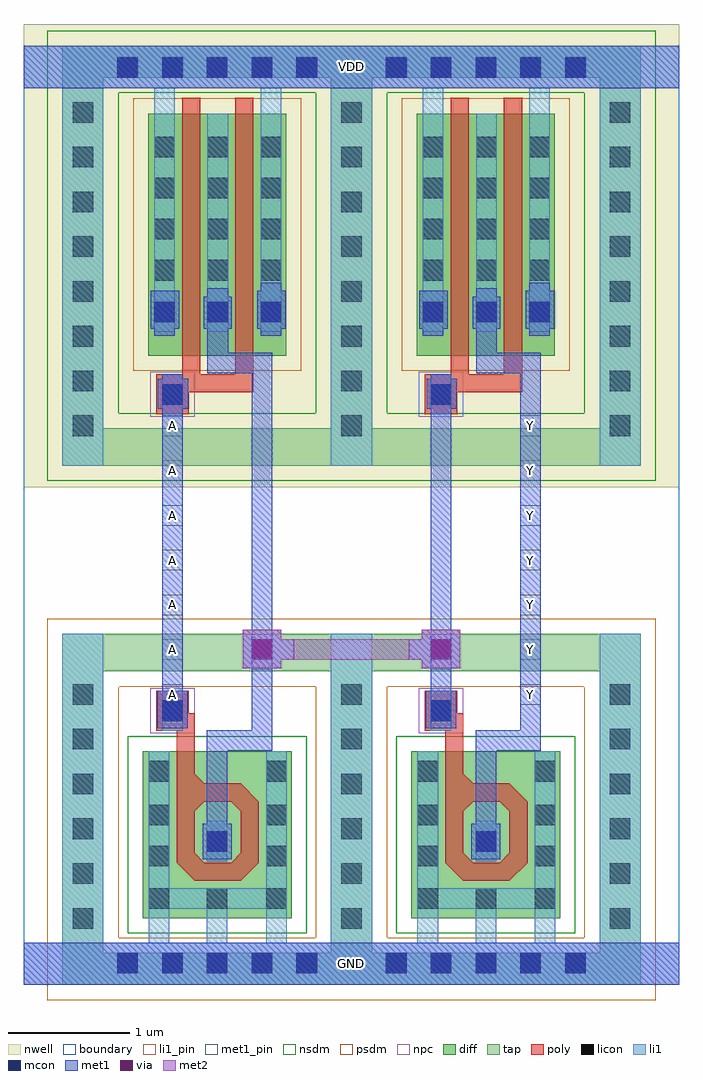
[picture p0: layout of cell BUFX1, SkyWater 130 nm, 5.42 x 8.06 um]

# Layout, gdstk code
from math import pi, radians
import gdstk
lib = gdstk.Library(unit=1e-6, precision=1e-09)
def R(c, l, rs):  # rectangles x0, y0, x1, y1
    for r in rs: c.add(gdstk.rectangle(r[:2], r[2:], *l))
def A(c, l, x, y, w, h, nx, ny, dx, dy):  # array of equal rectangles
    R(c, l, [(x+i*dx, y+j*dy, x+i*dx+w, y+j*dy+h) for i in range(nx) for j in range(ny)])
def P(c, l, *ps):  # polygons
    for p in ps: c.add(gdstk.Polygon(p, *l))
nwell = (64, 20)
diff = (65, 20)
tap = (65, 44)
poly = (66, 20)
licon = (66, 44)
li1_pin = (67, 16)
li1 = (67, 20)
mcon = (67, 44)
met1_pin = (68, 16)
met1 = (68, 20)
via = (68, 44)
met2 = (69, 20)
nsdm = (93, 44)
psdm = (94, 20)
npc = (95, 20)
boundary = (235, 4)

li1_m1_contact = lib.new_cell('li1_M1_contact')
R(li1_m1_contact, li1, [(-0.085,-0.165,0.085,0.165)])
R(li1_m1_contact, mcon, [(-0.085,-0.085,0.085,0.085)])
R(li1_m1_contact, met1, [(-0.115,-0.115,0.115,-0.085), (-0.265,-0.085,0.145,0.085), (-0.115,0.085,0.115,0.115)])

poly_li1_contact = lib.new_cell('poly_li1_contact')
R(poly_li1_contact, poly, [(-0.16,-0.14,0.17,0.13)])
R(poly_li1_contact, licon, [(-0.08,-0.09,0.09,0.08)])
R(poly_li1_contact, li1, [(-0.16,-0.09,0.17,0.08)])
R(poly_li1_contact, npc, [(-0.18,-0.19,0.19,0.18)])

pmos2 = lib.new_cell('pmos2')
R(pmos2, nwell, [(0.26,-2.18,1.76,0.18)])
R(pmos2, diff, [(0.44,-2,1.58,0)])
R(pmos2, poly, [(0.72,-2.305,1.31,-2.155), (0.72,-2.155,0.87,0.13), (1.16,-2.155,1.31,0.13)])
A(pmos2, licon, 0.49, -1.38, 0.17, 0.17, 3, 4, 0.44, 0.34)
R(pmos2, li1, [(0.49,-1.465,0.66,0.21), (0.93,-1.465,1.1,0), (1.37,-1.465,1.54,0.21)])
R(pmos2, psdm, [(0.315,-2.125,1.705,0.125)])

nmos_top = lib.new_cell('nmos_top')
R(nmos_top, diff, [(0,0,1.23,1.38)])
R(nmos_top, poly, [(0.42,0.31,0.8,0.46), (0.27,0.46,0.42,0.965), (0.8,0.46,0.95,0.965), (0.42,0.965,0.95,1.115), (0.8,1.115,0.95,1.54)])
P(nmos_top, poly, [(0.72,1.115),(0.8,1.115),(0.8,1.195)],
  [(0.27,0.965),(0.42,0.965),(0.42,1.115)],
  [(0.42,0.885),(0.42,0.965),(0.5,0.965)],
  [(0.72,0.965),(0.8,0.965),(0.8,0.885)],
  [(0.42,0.54),(0.42,0.46),(0.5,0.46)],
  [(0.72,0.46),(0.8,0.46),(0.8,0.54)],
  [(0.27,0.46),(0.42,0.46),(0.42,0.31)],
  [(0.8,0.31),(0.8,0.46),(0.95,0.46)])
R(nmos_top, licon, [(0.04,0.08,0.21,0.25), (0.53,0.08,0.7,0.25), (1.01,0.08,1.18,0.25), (0.04,0.43,0.21,0.6), (1.01,0.43,1.18,0.6), (0.53,0.55,0.7,0.72), (0.04,0.77,0.21,0.94), (1.01,0.77,1.18,0.94), (0.04,1.13,0.21,1.3), (1.01,1.13,1.18,1.3)])
R(nmos_top, li1, [(0.04,0,0.21,0.08), (1.01,0,1.18,0.08), (0.04,0.08,1.18,0.25), (0.04,0.25,0.21,1.38), (1.01,0.25,1.18,1.38), (0.53,0.47,0.7,0.805)])
R(nmos_top, nsdm, [(-0.125,-0.125,1.355,1.505)])

diff_ring_side = lib.new_cell('diff_ring_side')
R(diff_ring_side, nwell, [(-0.435,3.93,0.435,7.75)])
R(diff_ring_side, tap, [(-0.17,-0.17,0.17,2.72), (-0.17,4.11,0.17,7.57)])
A(diff_ring_side, licon, -0.085, 0.285, 0.17, 0.17, 1, 6, 0, 0.37)
A(diff_ring_side, licon, -0.085, 4.355, 0.17, 0.17, 1, 8, 0, 0.37)
R(diff_ring_side, li1, [(-0.17,-0.17,0.17,2.72), (-0.17,4.11,0.17,7.57)])
R(diff_ring_side, met1, [(-0.17,-0.17,0.17,0.17), (-0.17,7.23,0.17,7.57)])
R(diff_ring_side, nsdm, [(-0.295,3.985,0.295,7.695)])
R(diff_ring_side, psdm, [(-0.295,-0.295,0.295,2.845)])

invx1_pcell = lib.new_cell('invx1_pcell')
R(invx1_pcell, nwell, [(-0.435,3.93,2.655,7.75)])
A(invx1_pcell, diff, 0.59, 5.295, 0.17, 0.17, 3, 1, 0.44, 0)
R(invx1_pcell, tap, [(0.17,-0.17,2.05,0.085), (0.17,2.41,2.05,2.72), (0.17,4.11,2.05,4.42), (0.17,7.315,2.05,7.57)])
R(invx1_pcell, poly, [(0.775,1.905,0.925,2.065)])
A(invx1_pcell, licon, 0.285, -0.085, 0.17, 0.17, 5, 2, 0.37, 7.4)
A(invx1_pcell, licon, 0.59, 5.295, 0.17, 0.17, 3, 1, 0.44, 0)
A(invx1_pcell, li1, 0.59, 5.215, 0.17, 0.37, 3, 1, 0.44, 0)
R(invx1_pcell, li1, [(-0.17,-0.17,2.33,0.17), (0.545,0.17,0.715,0.42), (1.025,0.17,1.195,0.45), (1.515,0.17,1.685,0.45), (1.025,0.92,1.195,1.09), (0.655,2,0.825,2.17), (0.655,4.615,0.825,4.785), (-0.17,7.23,2.39,7.57)])
A(invx1_pcell, mcon, 0.285, -0.085, 0.17, 0.17, 5, 2, 0.37, 7.4)
A(invx1_pcell, mcon, 0.59, 5.295, 0.17, 0.17, 3, 1, 0.44, 0)
R(invx1_pcell, mcon, [(1.025,0.92,1.195,1.09), (0.655,2,0.825,2.17), (0.655,4.615,0.825,4.785)])
R(invx1_pcell, met1, [(-0.17,-0.17,2.39,0.17), (0.99,0.86,1.23,1.15), (1.025,1.15,1.195,1.755), (1.025,1.755,1.565,1.925), (1.395,1.925,1.565,4.875), (0.615,1.94,0.865,2.25), (0.655,2.25,0.825,4.58), (0.62,4.58,0.87,4.83), (0.655,4.83,0.825,4.865), (1.03,4.875,1.565,5.045), (1.03,5.045,1.2,5.24), (0.59,5.185,0.76,5.24), (1.47,5.185,1.64,5.24), (0.56,5.24,0.795,5.555), (1,5.24,1.23,5.505), (1.44,5.24,1.675,5.555), (1.03,5.505,1.2,5.575), (1.47,5.555,1.64,5.62), (-0.17,7.23,2.39,7.57)])
R(invx1_pcell, nsdm, [(0.045,3.985,2.175,4.545), (0.045,7.19,2.175,7.695)])
R(invx1_pcell, psdm, [(0.045,-0.295,2.175,0.21), (0.045,2.285,2.175,2.845), (0.465,5.17,1.765,5.59)])
invx1_pcell.add(gdstk.Reference(poly_li1_contact, (0.735,2.08), rotation=pi/2))
invx1_pcell.add(gdstk.Reference(poly_li1_contact, (0.745,4.705), rotation=3*pi/2))
invx1_pcell.add(gdstk.Reference(pmos2, (0.1,7.02)))
invx1_pcell.add(gdstk.Reference(nmos_top, (1.725,0.37), rotation=pi, x_reflection=True))
invx1_pcell.add(gdstk.Reference(diff_ring_side, (0,0)))
invx1_pcell.add(gdstk.Reference(diff_ring_side, (2.22,0)))

bufx1 = lib.new_cell('bufx1')
R(bufx1, met1, [(1.32,2.435,1.64,2.755), (2.8,2.435,3.12,2.755)])
R(bufx1, via, [(1.405,2.52,1.555,2.67), (2.885,2.52,3.035,2.67)])
R(bufx1, met2, [(1.32,2.435,1.64,2.505), (2.8,2.435,3.12,2.505), (1.32,2.505,3.12,2.675), (1.32,2.675,1.64,2.755), (2.8,2.675,3.12,2.755)])
bufx1.add(gdstk.Reference(li1_m1_contact, (2.96,2.59)))
bufx1.add(gdstk.Reference(li1_m1_contact, (1.48,2.59), rotation=pi))
bufx1.add(gdstk.Reference(invx1_pcell, (2.22,0)))
bufx1.add(gdstk.Reference(invx1_pcell, (0,0)))

c_bufx1 = lib.new_cell('BUFX1')
R(c_bufx1, nwell, [(0,4.11,0.055,7.41), (5.365,4.11,5.42,7.93), (0,7.41,0.23,7.76), (0.775,7.495,0.945,7.665), (0,7.76,0.055,7.93), (0,7.93,5.42,7.94)])
R(c_bufx1, tap, [(0.32,0,5.1,0.01), (0.32,7.75,5.1,7.76)])
A(c_bufx1, li1_pin, 1.145, 2.315, 0.17, 0.17, 1, 7, 0, 0.37)
A(c_bufx1, li1_pin, 4.105, 2.315, 0.17, 0.17, 1, 7, 0, 0.37)
R(c_bufx1, li1, [(0,0,5.42,0.35), (0,7.41,5.42,7.76)])
R(c_bufx1, met1_pin, [(0,0,5.42,0.35), (0,7.41,5.42,7.76)])
A(c_bufx1, met1, 1.145, 2.315, 0.17, 0.17, 1, 7, 0, 0.37)
A(c_bufx1, met1, 4.105, 2.315, 0.17, 0.17, 1, 7, 0, 0.37)
R(c_bufx1, met1, [(0,0,5.42,0.35), (0,7.41,5.42,7.76)])
R(c_bufx1, nsdm, [(0.195,7.625,5.225,7.885)])
R(c_bufx1, psdm, [(0.195,-0.125,5.225,0.135)])
R(c_bufx1, boundary, [(0,0,5.42,7.76)])
c_bufx1.add(gdstk.Reference(bufx1, (0.49,0.18)))
c_bufx1.add(gdstk.Label('Y', (4.19,4.62), layer=67, texttype=5))
c_bufx1.add(gdstk.Label('Y', (4.19,4.25), layer=67, texttype=5))
c_bufx1.add(gdstk.Label('Y', (4.19,3.88), layer=67, texttype=5))
c_bufx1.add(gdstk.Label('Y', (4.19,3.51), layer=67, texttype=5))
c_bufx1.add(gdstk.Label('Y', (4.19,3.14), layer=67, texttype=5))
c_bufx1.add(gdstk.Label('Y', (4.19,2.77), layer=67, texttype=5))
c_bufx1.add(gdstk.Label('Y', (4.19,2.4), layer=67, texttype=5))
c_bufx1.add(gdstk.Label('A', (1.23,4.62), layer=67, texttype=5))
c_bufx1.add(gdstk.Label('A', (1.23,4.25), layer=67, texttype=5))
c_bufx1.add(gdstk.Label('A', (1.23,3.88), layer=67, texttype=5))
c_bufx1.add(gdstk.Label('A', (1.23,3.51), layer=67, texttype=5))
c_bufx1.add(gdstk.Label('A', (1.23,3.14), layer=67, texttype=5))
c_bufx1.add(gdstk.Label('A', (1.23,2.77), layer=67, texttype=5))
c_bufx1.add(gdstk.Label('A', (1.23,2.4), layer=67, texttype=5))
c_bufx1.add(gdstk.Label('VDD', (2.71,7.585), layer=68, texttype=5))
c_bufx1.add(gdstk.Label('GND', (2.71,0.175), layer=68, texttype=5))

lib.write_gds('BUFX1.gds')
